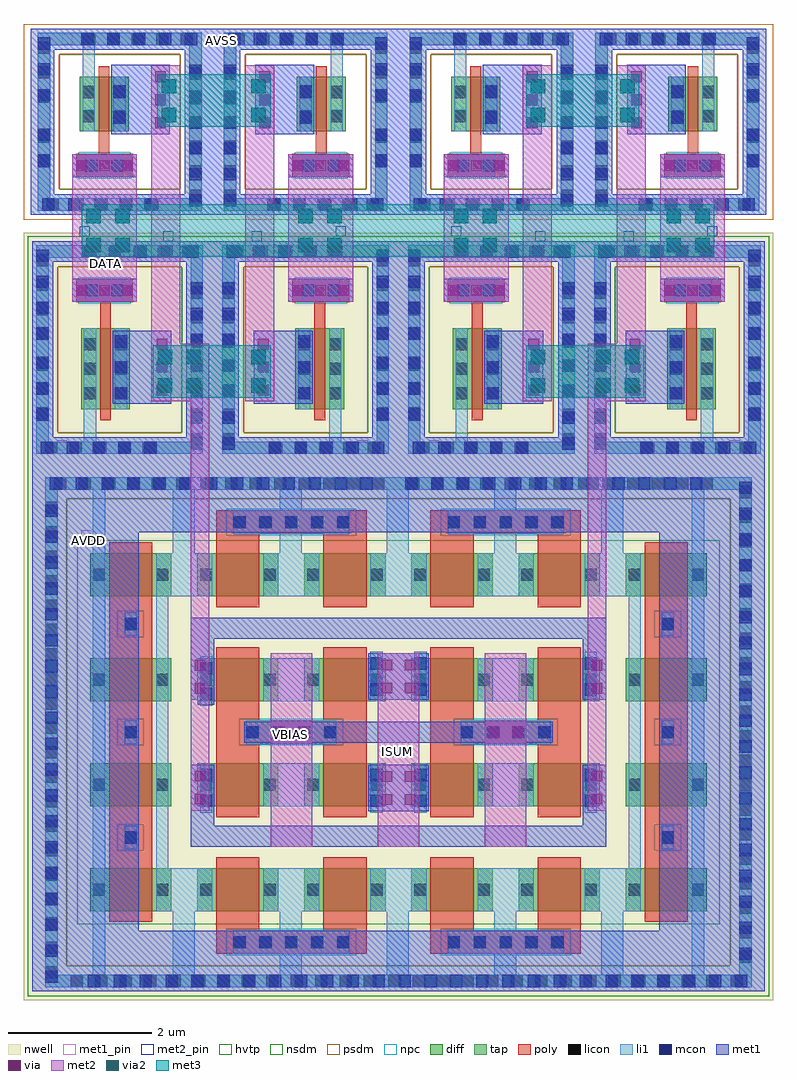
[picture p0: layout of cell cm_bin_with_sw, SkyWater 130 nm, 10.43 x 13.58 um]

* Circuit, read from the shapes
.subckt cm_bin_with_sw AVDD AVSS DATA ISUM VBIAS
XM1 idac_cm_sw_24/OUT DATA AVSS AVSS sky130_fd_pr__nfet_01v8 w=0.76 l=0.15 m=4
XM2 idac_cm_sw_24/OUT DATA AVDD AVDD sky130_fd_pr__pfet_01v8 w=1.13 l=0.15 m=4
XM3 AVDD AVDD AVDD AVDD sky130_fd_pr__pfet_01v8_hvt w=0.6 l=0.6 m=16
XM4 n1 VBIAS idac_cm_sw_24/OUT AVDD sky130_fd_pr__pfet_01v8_hvt w=0.6 l=0.6
XM5 n2 VBIAS idac_cm_sw_24/OUT AVDD sky130_fd_pr__pfet_01v8_hvt w=0.6 l=0.6
XM6 ISUM VBIAS n1 AVDD sky130_fd_pr__pfet_01v8_hvt w=0.6 l=0.6
XM7 ISUM VBIAS n2 AVDD sky130_fd_pr__pfet_01v8_hvt w=0.6 l=0.6
XM8 n3 VBIAS ISUM AVDD sky130_fd_pr__pfet_01v8_hvt w=0.6 l=0.6
XM9 n4 VBIAS ISUM AVDD sky130_fd_pr__pfet_01v8_hvt w=0.6 l=0.6
XM10 idac_cm_sw_24/OUT VBIAS n3 AVDD sky130_fd_pr__pfet_01v8_hvt w=0.6 l=0.6
XM11 idac_cm_sw_24/OUT VBIAS n4 AVDD sky130_fd_pr__pfet_01v8_hvt w=0.6 l=0.6
.ends

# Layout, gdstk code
from math import pi, radians
import gdstk
lib = gdstk.Library(unit=1e-6, precision=1e-09)
def R(c, l, rs):  # rectangles x0, y0, x1, y1
    for r in rs: c.add(gdstk.rectangle(r[:2], r[2:], *l))
def A(c, l, x, y, w, h, nx, ny, dx, dy):  # array of equal rectangles
    R(c, l, [(x+i*dx, y+j*dy, x+i*dx+w, y+j*dy+h) for i in range(nx) for j in range(ny)])
nwell = (64, 20)
diff = (65, 20)
tap = (65, 44)
poly = (66, 20)
licon = (66, 44)
li1 = (67, 20)
mcon = (67, 44)
met1_pin = (68, 16)
met1 = (68, 20)
via = (68, 44)
met2_pin = (69, 16)
met2 = (69, 20)
via2 = (69, 44)
met3 = (70, 20)
hvtp = (78, 44)
nsdm = (93, 44)
psdm = (94, 20)
npc = (95, 20)

pfet_01v8_hvt_cdns_73095 = lib.new_cell('pfet_01v8_hvt_CDNS_730950903095')
R(pfet_01v8_hvt_cdns_73095, nwell, [(-0.445,-0.18,1.045,0.78)])
R(pfet_01v8_hvt_cdns_73095, diff, [(-0.265,0,0,0.6), (0,0,0.6,0.6), (0.6,0,0.865,0.6)])
R(pfet_01v8_hvt_cdns_73095, poly, [(0,-0.15,0.6,-0.095), (0,-0.095,0.6,0), (0,0,0.6,0.6), (0,0.6,0.6,0.695), (0,0.695,0.6,0.75)])
R(pfet_01v8_hvt_cdns_73095, licon, [(-0.225,0.215,-0.055,0.385), (0.655,0.215,0.825,0.385)])
R(pfet_01v8_hvt_cdns_73095, li1, [(-0.225,0,-0.055,0.6), (0.655,0,0.825,0.6)])
R(pfet_01v8_hvt_cdns_73095, hvtp, [(-0.445,-0.18,1.045,0.78)])
R(pfet_01v8_hvt_cdns_73095, psdm, [(-0.405,-0.13,1.005,0.73)])

nfet_01v8_cdns_730950903 = lib.new_cell('nfet_01v8_CDNS_730950903097')
R(nfet_01v8_cdns_730950903, diff, [(-0.265,0,0,0.76), (0,0,0.15,0.76), (0.15,0,0.415,0.76)])
R(nfet_01v8_cdns_730950903, poly, [(0,-0.15,0.15,-0.095), (0,-0.095,0.15,0), (0,0,0.15,0.76), (0,0.76,0.15,0.855), (0,0.855,0.15,0.91)])
R(nfet_01v8_cdns_730950903, licon, [(-0.225,0.125,-0.055,0.295), (0.205,0.125,0.375,0.295), (-0.225,0.465,-0.055,0.635), (0.205,0.465,0.375,0.635)])
R(nfet_01v8_cdns_730950903, li1, [(-0.225,0,-0.055,0.76), (0.205,0,0.375,0.76)])
R(nfet_01v8_cdns_730950903, nsdm, [(-0.405,-0.13,0.555,0.89)])

pfet_01v8_cdns_730950903 = lib.new_cell('pfet_01v8_CDNS_730950903098')
R(pfet_01v8_cdns_730950903, nwell, [(-0.445,-0.18,0.595,1.31)])
R(pfet_01v8_cdns_730950903, diff, [(-0.265,0,0,1.13), (0,0,0.15,1.13), (0.15,0,0.415,1.13)])
R(pfet_01v8_cdns_730950903, poly, [(0,-0.15,0.15,-0.095), (0,-0.095,0.15,0), (0,0,0.15,1.13), (0,1.13,0.15,1.225), (0,1.225,0.15,1.28)])
A(pfet_01v8_cdns_730950903, licon, -0.225, 0.14, 0.17, 0.17, 1, 3, 0, 0.34)
A(pfet_01v8_cdns_730950903, licon, 0.205, 0.14, 0.17, 0.17, 1, 3, 0, 0.34)
R(pfet_01v8_cdns_730950903, li1, [(-0.225,0,-0.055,1.13), (0.205,0,0.375,1.13)])
R(pfet_01v8_cdns_730950903, psdm, [(-0.405,-0.13,0.555,1.26)])

m1m2_c_cdns_730950903091 = lib.new_cell('M1M2_C_CDNS_7309509030915')
R(m1m2_c_cdns_730950903091, met1, [(-0.45,-0.16,0.45,0.16)])
A(m1m2_c_cdns_730950903091, via, -0.395, -0.075, 0.15, 0.15, 3, 1, 0.32, 0)
R(m1m2_c_cdns_730950903091, met2, [(-0.45,-0.16,0.45,0.16)])

polyconn_cdns_7309509030 = lib.new_cell('polyConn_CDNS_730950903096')
R(polyconn_cdns_7309509030, poly, [(-0.395,-0.165,0.395,0.165)])
R(polyconn_cdns_7309509030, licon, [(-0.265,-0.085,-0.095,0.085), (0.095,-0.085,0.265,0.085)])
R(polyconn_cdns_7309509030, li1, [(-0.265,-0.165,0.265,0.165)])
R(polyconn_cdns_7309509030, mcon, [(-0.265,-0.085,-0.095,0.085), (0.095,-0.085,0.265,0.085)])
R(polyconn_cdns_7309509030, met1, [(-0.45,-0.16,0.45,0.16)])
R(polyconn_cdns_7309509030, npc, [(-0.365,-0.185,0.365,0.185)])

l1m1_c_cdns_730950903091 = lib.new_cell('L1M1_C_CDNS_7309509030916')
R(l1m1_c_cdns_730950903091, li1, [(-0.085,-0.525,0.085,0.525)])
A(l1m1_c_cdns_730950903091, mcon, -0.085, -0.445, 0.17, 0.17, 1, 3, 0, 0.36)
R(l1m1_c_cdns_730950903091, met1, [(-0.115,-0.505,0.115,0.505)])

c_m1m2_c_cdns_730950903091 = lib.new_cell('M1M2_C_CDNS_7309509030912')
R(c_m1m2_c_cdns_730950903091, met1, [(-0.13,-0.48,0.13,0.48)])
A(c_m1m2_c_cdns_730950903091, via, -0.075, -0.395, 0.15, 0.15, 1, 3, 0, 0.32)
R(c_m1m2_c_cdns_730950903091, met2, [(-0.13,-0.48,0.13,0.48)])

c_l1m1_c_cdns_730950903091 = lib.new_cell('L1M1_C_CDNS_7309509030913')
R(c_l1m1_c_cdns_730950903091, li1, [(-0.085,-0.345,0.085,0.345)])
R(c_l1m1_c_cdns_730950903091, mcon, [(-0.085,-0.265,0.085,-0.095), (-0.085,0.095,0.085,0.265)])
R(c_l1m1_c_cdns_730950903091, met1, [(-0.115,-0.325,0.115,0.325)])

idac_cm_sw = lib.new_cell('idac_cm_sw')
R(idac_cm_sw, nwell, [(0,2.795,2.675,6.055)])
A(idac_cm_sw, licon, 0.825, 0.02, 0.17, 0.17, 5, 1, 0.34, 0)
A(idac_cm_sw, licon, 0.2, 0.14, 0.17, 0.17, 1, 3, 0, 0.34)
A(idac_cm_sw, licon, 2.305, 0.5, 0.17, 0.17, 1, 6, 0, 0.34)
A(idac_cm_sw, licon, 0.32, 2.32, 0.17, 0.17, 5, 1, 0.34, 0)
A(idac_cm_sw, licon, 0.845, 2.975, 0.17, 0.17, 5, 1, 0.34, 0)
A(idac_cm_sw, licon, 0.18, 3.095, 0.17, 0.17, 1, 4, 0, 0.34)
A(idac_cm_sw, licon, 2.325, 3.545, 0.17, 0.17, 1, 7, 0, 0.34)
A(idac_cm_sw, licon, 0.18, 4.545, 0.17, 0.17, 1, 3, 0, 0.34)
A(idac_cm_sw, licon, 0.3, 5.705, 0.17, 0.17, 5, 1, 0.34, 0)
R(idac_cm_sw, licon, [(0.2,1.375,0.37,1.545), (0.2,1.715,0.37,1.885)])
A(idac_cm_sw, mcon, 0.805, 0.02, 0.17, 0.17, 5, 1, 0.36, 0)
A(idac_cm_sw, mcon, 0.2, 0.08, 0.17, 0.17, 1, 3, 0, 0.36)
A(idac_cm_sw, mcon, 2.305, 0.46, 0.17, 0.17, 1, 6, 0, 0.36)
A(idac_cm_sw, mcon, 0.26, 2.32, 0.17, 0.17, 5, 1, 0.36, 0)
A(idac_cm_sw, mcon, 0.825, 2.975, 0.17, 0.17, 5, 1, 0.36, 0)
A(idac_cm_sw, mcon, 0.18, 3.035, 0.17, 0.17, 1, 4, 0, 0.36)
A(idac_cm_sw, mcon, 2.325, 3.485, 0.17, 0.17, 1, 7, 0, 0.36)
A(idac_cm_sw, mcon, 0.18, 4.52, 0.17, 0.17, 1, 3, 0, 0.36)
A(idac_cm_sw, mcon, 0.24, 5.705, 0.17, 0.17, 5, 1, 0.36, 0)
R(idac_cm_sw, mcon, [(0.2,1.35,0.37,1.52), (0.2,1.71,0.37,1.88)])
R(idac_cm_sw, met1_pin, [(0.535,0.04,0.675,0.18), (0.47,5.685,0.61,5.825)])
R(idac_cm_sw, met1, [(0.1,-0.04,0.27,2.55), (1.22,0.46,2.035,1.43), (1.24,4.165,2.055,5.175)])
R(idac_cm_sw, met2_pin, [(0.78,2.71,0.92,2.85), (1.945,2.78,2.085,2.92)])
R(idac_cm_sw, met2, [(1.775,0.47,2.18,5.145), (0.675,1.705,1.575,3.76)])
R(idac_cm_sw, nsdm, [(0.495,0.315,2.18,2.195)])
R(idac_cm_sw, psdm, [(0,-0.105,0.105,2.615), (2.57,-0.105,2.675,2.615), (0.475,3.27,2.2,5.58)])
idac_cm_sw.add(gdstk.FlexPath([(1.14,3.975),(1.14,3.6)], 0.15, ends="flush", simple_path=True, layer=66, datatype=20))  # poly
idac_cm_sw.add(gdstk.FlexPath([(1.12,1.54),(1.12,1.93)], 0.15, ends="flush", simple_path=True, layer=66, datatype=20))  # poly
idac_cm_sw.add(gdstk.FlexPath([(0.285,1.255),(0.285,2.405),(2.39,2.405),(2.39,0.105),(0.285,0.105),(0.285,1.255)], 0.17, ends="flush", simple_path=True, layer=67, datatype=20))  # li1
idac_cm_sw.add(gdstk.FlexPath([(0.265,4.425),(0.265,5.79),(2.41,5.79),(2.41,3.06),(0.265,3.06),(0.265,4.425)], 0.17, ends="flush", simple_path=True, layer=67, datatype=20))  # li1
idac_cm_sw.add(gdstk.FlexPath([(0.905,0.63),(0.905,0.105)], 0.17, ends="flush", simple_path=True, layer=67, datatype=20))  # li1
idac_cm_sw.add(gdstk.FlexPath([(0.925,5.255),(0.925,5.79)], 0.17, ends="flush", simple_path=True, layer=67, datatype=20))  # li1
idac_cm_sw.add(gdstk.FlexPath([(0.265,4.425),(0.265,5.79),(2.41,5.79),(2.41,3.06),(0.265,3.06),(0.265,4.425)], 0.42, ends="flush", simple_path=True, layer=93, datatype=44))  # nsdm
idac_cm_sw.add(gdstk.FlexPath([(0.285,1.255),(0.285,2.405),(2.39,2.405),(2.39,0.105),(0.285,0.105),(0.285,1.255)], 0.42, ends="flush", simple_path=True, layer=94, datatype=20))  # psdm
idac_cm_sw.add(gdstk.FlexPath([(0.265,4.425),(0.265,5.79),(2.41,5.79),(2.41,3.06),(0.265,3.06),(0.265,4.425)], 0.53, ends="flush", simple_path=True, layer=64, datatype=20))  # nwell
idac_cm_sw.add(gdstk.FlexPath([(0.285,1.255),(0.285,2.405),(2.39,2.405),(2.39,0.105),(0.285,0.105),(0.285,1.255)], 0.29, ends="flush", simple_path=True, layer=68, datatype=20))  # met1
idac_cm_sw.add(gdstk.FlexPath([(0.265,4.425),(0.265,5.79),(2.41,5.79),(2.41,3.06),(0.265,3.06),(0.265,4.425)], 0.29, ends="flush", simple_path=True, layer=68, datatype=20))  # met1
idac_cm_sw.add(gdstk.FlexPath([(0.265,4.425),(0.265,5.79),(2.41,5.79),(2.41,3.06),(0.265,3.06),(0.265,4.425)], 0.17, ends="flush", simple_path=True, layer=65, datatype=44))  # tap
idac_cm_sw.add(gdstk.FlexPath([(0.285,1.255),(0.285,2.405),(2.39,2.405),(2.39,0.105),(0.285,0.105),(0.285,1.255)], 0.17, ends="flush", simple_path=True, layer=65, datatype=44))  # tap
idac_cm_sw.add(gdstk.Reference(nfet_01v8_cdns_730950903, (1.045,0.63)))
idac_cm_sw.add(gdstk.Reference(pfet_01v8_cdns_730950903, (1.065,4.125)))
idac_cm_sw.add(gdstk.Reference(m1m2_c_cdns_730950903091, (1.125,3.6)))
idac_cm_sw.add(gdstk.Reference(m1m2_c_cdns_730950903091, (1.125,1.865)))
idac_cm_sw.add(gdstk.Reference(polyconn_cdns_7309509030, (1.125,3.6)))
idac_cm_sw.add(gdstk.Reference(polyconn_cdns_7309509030, (1.125,1.865)))
idac_cm_sw.add(gdstk.Reference(l1m1_c_cdns_730950903091, (1.355,4.67)))
idac_cm_sw.add(gdstk.Reference(c_m1m2_c_cdns_730950903091, (1.905,0.95)))
idac_cm_sw.add(gdstk.Reference(c_m1m2_c_cdns_730950903091, (1.925,4.665)))
idac_cm_sw.add(gdstk.Reference(c_l1m1_c_cdns_730950903091, (1.335,1.015)))
idac_cm_sw.add(gdstk.Label('AVSS', (0.62,0.095), layer=68, texttype=20))
idac_cm_sw.add(gdstk.Label('AVSS', (0.58,0.095), layer=68, texttype=20))
idac_cm_sw.add(gdstk.Label('OUT', (1.99,2.85), layer=69, texttype=20))
idac_cm_sw.add(gdstk.Label('OUT', (1.985,2.815), layer=69, texttype=5))
idac_cm_sw.add(gdstk.Label('DATA', (0.9,2.74), layer=69, texttype=5))
idac_cm_sw.add(gdstk.Label('AVSS', (0.585,0.115), layer=68, texttype=5))
idac_cm_sw.add(gdstk.Label('AVDD', (0.51,5.855), layer=68, texttype=5))

c_polyconn_cdns_7309509030 = lib.new_cell('polyConn_CDNS_730950903092')
R(c_polyconn_cdns_7309509030, poly, [(-0.675,-0.165,0.675,0.165)])
A(c_polyconn_cdns_7309509030, licon, -0.625, -0.085, 0.17, 0.17, 4, 1, 0.36, 0)
R(c_polyconn_cdns_7309509030, li1, [(-0.625,-0.165,0.625,0.165)])
A(c_polyconn_cdns_7309509030, mcon, -0.625, -0.085, 0.17, 0.17, 4, 1, 0.36, 0)
R(c_polyconn_cdns_7309509030, met1, [(-0.655,-0.145,0.655,0.145)])
R(c_polyconn_cdns_7309509030, npc, [(-0.725,-0.185,0.725,0.185)])

c_m1m2_c_cdns_730950903091_ = lib.new_cell('M1M2_C_CDNS_7309509030911')
R(c_m1m2_c_cdns_730950903091_, met1, [(-0.29,-0.32,0.29,0.32)])
R(c_m1m2_c_cdns_730950903091_, via, [(-0.235,-0.235,-0.085,-0.085), (0.085,-0.235,0.235,-0.085), (-0.235,0.085,-0.085,0.235), (0.085,0.085,0.235,0.235)])
R(c_m1m2_c_cdns_730950903091_, met2, [(-0.29,-0.32,0.29,0.32)])

c_m1m2_c_cdns_730950903091__ = lib.new_cell('M1M2_C_CDNS_7309509030914')
R(c_m1m2_c_cdns_730950903091__, met1, [(-0.13,-0.32,0.13,0.32)])
R(c_m1m2_c_cdns_730950903091__, via, [(-0.075,-0.235,0.075,-0.085), (-0.075,0.085,0.075,0.235)])
R(c_m1m2_c_cdns_730950903091__, met2, [(-0.13,-0.32,0.13,0.32)])

m1m2_c_cdns_730950903094 = lib.new_cell('M1M2_C_CDNS_730950903094')
R(m1m2_c_cdns_730950903094, met1, [(-0.29,-0.16,0.29,0.16)])
R(m1m2_c_cdns_730950903094, via, [(-0.235,-0.075,-0.085,0.075), (0.085,-0.075,0.235,0.075)])
R(m1m2_c_cdns_730950903094, met2, [(-0.29,-0.16,0.29,0.16)])

c_polyconn_cdns_7309509030_ = lib.new_cell('polyConn_CDNS_730950903093')
R(c_polyconn_cdns_7309509030_, poly, [(-0.135,-0.165,0.135,0.165)])
R(c_polyconn_cdns_7309509030_, licon, [(-0.085,-0.085,0.085,0.085)])
R(c_polyconn_cdns_7309509030_, li1, [(-0.085,-0.165,0.085,0.165)])
R(c_polyconn_cdns_7309509030_, mcon, [(-0.085,-0.085,0.085,0.085)])
R(c_polyconn_cdns_7309509030_, met1, [(-0.115,-0.145,0.115,0.145)])
R(c_polyconn_cdns_7309509030_, npc, [(-0.185,-0.185,0.185,0.185)])

c_polyconn_cdns_7309509030__ = lib.new_cell('polyConn_CDNS_730950903094')
R(c_polyconn_cdns_7309509030__, poly, [(-0.855,-0.165,0.855,0.165)])
A(c_polyconn_cdns_7309509030__, licon, -0.805, -0.085, 0.17, 0.17, 5, 1, 0.36, 0)
R(c_polyconn_cdns_7309509030__, li1, [(-0.805,-0.165,0.805,0.165)])
A(c_polyconn_cdns_7309509030__, mcon, -0.805, -0.085, 0.17, 0.17, 5, 1, 0.36, 0)
R(c_polyconn_cdns_7309509030__, met1, [(-0.835,-0.145,0.835,0.145)])
R(c_polyconn_cdns_7309509030__, npc, [(-0.905,-0.185,0.905,0.185)])

m2m3_c_cdns_730950903095 = lib.new_cell('M2M3_C_CDNS_730950903095')
R(m2m3_c_cdns_730950903095, met2, [(-0.34,-0.385,0.34,0.385)])
R(m2m3_c_cdns_730950903095, via2, [(-0.3,-0.3,-0.1,-0.1), (0.1,-0.3,0.3,-0.1), (-0.3,0.1,-0.1,0.3), (0.1,0.1,0.3,0.3)])
R(m2m3_c_cdns_730950903095, met3, [(-0.365,-0.365,0.365,0.365)])

m2m3_c_cdns_730950903091 = lib.new_cell('M2M3_C_CDNS_730950903091')
R(m2m3_c_cdns_730950903091, met2, [(-0.14,-0.385,0.14,0.385)])
R(m2m3_c_cdns_730950903091, via2, [(-0.1,-0.3,0.1,-0.1), (-0.1,0.1,0.1,0.3)])
R(m2m3_c_cdns_730950903091, met3, [(-0.165,-0.365,0.165,0.365)])

cm_bin_with_sw = lib.new_cell('cm_bin_with_sw')
R(cm_bin_with_sw, nwell, [(-0.03,0,10.4,7.45), (0.095,0,10.275,7.45)])
A(cm_bin_with_sw, poly, 2.65, 0.64, 0.6, 0.445, 4, 2, 1.49, 5.725)
A(cm_bin_with_sw, poly, 1.16, 3.445, 0.6, 0.56, 6, 1, 1.49, 0)
R(cm_bin_with_sw, poly, [(1.16,1.985,1.76,2.545), (8.61,1.985,9.21,2.545), (1.16,4.905,1.76,5.465), (8.61,4.905,9.21,5.465)])
A(cm_bin_with_sw, licon, 0.625, 0.18, 0.17, 0.17, 28, 1, 0.34, 0)
A(cm_bin_with_sw, licon, 0.275, 0.3, 0.17, 0.17, 1, 20, 0, 0.34)
A(cm_bin_with_sw, licon, 9.925, 0.52, 0.17, 0.17, 1, 20, 0, 0.34)
A(cm_bin_with_sw, licon, 0.395, 7.1, 0.17, 0.17, 14, 1, 0.34, 0)
A(cm_bin_with_sw, licon, 5.305, 7.1, 0.17, 0.17, 13, 1, 0.34, 0)
A(cm_bin_with_sw, li1, 2.045, 0.265, 0.305, 1.435, 5, 2, 1.49, 5.45)
R(cm_bin_with_sw, li1, [(3.305,2.695,4.085,3.295), (6.285,2.695,7.065,3.295), (3.305,4.155,4.085,4.755), (6.285,4.155,7.065,4.755)])
A(cm_bin_with_sw, mcon, 0.865, 0.18, 0.17, 0.17, 26, 1, 0.36, 0)
A(cm_bin_with_sw, mcon, 0.275, 0.24, 0.17, 0.17, 1, 19, 0, 0.36)
A(cm_bin_with_sw, mcon, 9.925, 0.56, 0.17, 0.17, 1, 19, 0, 0.36)
A(cm_bin_with_sw, mcon, 0.335, 7.1, 0.17, 0.17, 13, 1, 0.36, 0)
A(cm_bin_with_sw, mcon, 5.28, 7.1, 0.17, 0.17, 12, 1, 0.36, 0)
R(cm_bin_with_sw, met1_pin, [(0.77,6.395,0.91,6.535), (2.76,13.165,2.9,13.305)])
A(cm_bin_with_sw, met1, 2.405, 7.535, 0.425, 3.02, 3, 1, 2.565, 0)
R(cm_bin_with_sw, met1, [(0.09,0.12,0.395,7.65), (0.12,0.12,0.27,7.615), (10.13,0.12,10.25,7.275), (10.17,0.12,10.28,7.59), (0.36,0.18,1.57,7.185), (0.33,0.225,10.01,0.96), (8.815,0.225,10.01,7.185), (2.295,2.135,8.075,2.425), (2.295,2.135,2.625,2.655), (7.745,2.135,8.075,2.655), (4.765,2.625,5.605,3.275), (3.38,3.58,6.99,3.87), (4.765,4.175,5.605,4.825), (2.295,4.755,2.625,5.315), (7.745,4.765,8.075,5.315), (2.295,5.025,8.075,5.315), (0.36,6.505,9.94,7.185), (0.12,7.275,10.25,7.715), (2.41,10.92,2.83,13.51), (4.98,10.92,5.4,13.51), (7.54,10.92,7.96,13.51)])
R(cm_bin_with_sw, met2_pin, [(5.1,3.385,5.24,3.525), (3.595,3.585,3.735,3.725), (1.125,10.185,1.265,10.325)])
A(cm_bin_with_sw, met2, 3.405, 2.135, 0.58, 2.685, 3, 1, 1.49, 0)
R(cm_bin_with_sw, met2, [(4.895,2.63,5.475,4.82), (2.295,2.635,2.555,4.815), (7.815,2.635,8.075,4.815), (2.295,4.385,2.555,9.13), (7.815,4.385,8.075,9.13), (1.765,8.325,2.555,9.13), (7.895,8.325,8.605,9.13)])
R(cm_bin_with_sw, met3, [(1.77,8.38,3.405,9.11), (6.96,8.38,8.6,9.11), (0.78,10.337,9.578,11.067), (1.83,12.145,3.405,12.875), (6.96,12.145,8.535,12.875)])
R(cm_bin_with_sw, hvtp, [(0.715,1.055,9.655,6.395), (1.395,1.055,8.975,6.395)])
R(cm_bin_with_sw, nsdm, [(0.025,0.055,0.22,7.625), (10.15,0.055,10.345,7.505), (0.055,7.35,10.315,7.625), (2.475,7.47,2.715,10.62), (5.055,7.47,5.295,10.62), (7.665,7.47,7.905,10.62)])
R(cm_bin_with_sw, psdm, [(0.57,0.475,9.8,6.975)])
cm_bin_with_sw.add(gdstk.FlexPath([(6.455,1.535),(6.895,1.535)], 0.6, ends="flush", simple_path=True, layer=67, datatype=20))  # li1
cm_bin_with_sw.add(gdstk.FlexPath([(6.455,5.915),(6.895,5.915)], 0.6, ends="flush", simple_path=True, layer=67, datatype=20))  # li1
cm_bin_with_sw.add(gdstk.FlexPath([(1.9,1.235),(1.9,6.215)], 0.17, ends="flush", simple_path=True, layer=67, datatype=20))  # li1
cm_bin_with_sw.add(gdstk.FlexPath([(8.47,6.01),(8.385,6.01)], 0.17, ends=(0.085, 0), simple_path=True, layer=67, datatype=20))  # li1
cm_bin_with_sw.add(gdstk.FlexPath([(8.47,1.235),(8.47,6.01)], 0.17, ends=(0, 0.085), simple_path=True, layer=67, datatype=20))  # li1
cm_bin_with_sw.add(gdstk.FlexPath([(7.945,1.535),(8.385,1.535)], 0.6, ends="flush", simple_path=True, layer=67, datatype=20))  # li1
cm_bin_with_sw.add(gdstk.FlexPath([(1.985,1.535),(2.425,1.535)], 0.6, ends="flush", simple_path=True, layer=67, datatype=20))  # li1
cm_bin_with_sw.add(gdstk.FlexPath([(9.35,5.615),(9.35,0.265)], 0.17, ends="flush", simple_path=True, layer=67, datatype=20))  # li1
cm_bin_with_sw.add(gdstk.FlexPath([(9.35,6.215),(9.35,7.185)], 0.17, ends="flush", simple_path=True, layer=67, datatype=20))  # li1
cm_bin_with_sw.add(gdstk.FlexPath([(1.02,7.185),(1.02,0.265)], 0.17, ends="flush", simple_path=True, layer=67, datatype=20))  # li1
cm_bin_with_sw.add(gdstk.FlexPath([(5.185,7.185),(10.01,7.185),(10.01,0.265),(0.36,0.265),(0.36,7.185),(5.185,7.185)], 0.17, ends="flush", simple_path=True, layer=67, datatype=20))  # li1
cm_bin_with_sw.add(gdstk.FlexPath([(3.475,1.535),(3.915,1.535)], 0.6, ends="flush", simple_path=True, layer=67, datatype=20))  # li1
cm_bin_with_sw.add(gdstk.FlexPath([(3.475,5.915),(3.915,5.915)], 0.6, ends="flush", simple_path=True, layer=67, datatype=20))  # li1
cm_bin_with_sw.add(gdstk.FlexPath([(4.965,5.915),(5.405,5.915)], 0.6, ends="flush", simple_path=True, layer=67, datatype=20))  # li1
cm_bin_with_sw.add(gdstk.FlexPath([(7.945,5.915),(8.385,5.915)], 0.6, ends="flush", simple_path=True, layer=67, datatype=20))  # li1
cm_bin_with_sw.add(gdstk.FlexPath([(1.985,5.915),(2.425,5.915)], 0.6, ends="flush", simple_path=True, layer=67, datatype=20))  # li1
cm_bin_with_sw.add(gdstk.FlexPath([(4.965,1.535),(5.405,1.535)], 0.6, ends="flush", simple_path=True, layer=67, datatype=20))  # li1
cm_bin_with_sw.add(gdstk.FlexPath([(5.185,7.185),(10.01,7.185),(10.01,0.265),(0.36,0.265),(0.36,7.185),(5.185,7.185)], 0.53, ends="flush", simple_path=True, layer=64, datatype=20))  # nwell
cm_bin_with_sw.add(gdstk.FlexPath([(5.185,7.185),(10.01,7.185),(10.01,0.265),(0.36,0.265),(0.36,7.185),(5.185,7.185)], 0.42, ends="flush", simple_path=True, layer=93, datatype=44))  # nsdm
cm_bin_with_sw.add(gdstk.FlexPath([(5.185,7.185),(10.01,7.185),(10.01,0.265),(0.36,0.265),(0.36,7.185),(5.185,7.185)], 0.29, ends="flush", simple_path=True, layer=68, datatype=20))  # met1
cm_bin_with_sw.add(gdstk.FlexPath([(5.185,7.185),(10.01,7.185),(10.01,0.265),(0.36,0.265),(0.36,7.185),(5.185,7.185)], 0.17, ends="flush", simple_path=True, layer=65, datatype=44))  # tap
cm_bin_with_sw.add(gdstk.Reference(pfet_01v8_hvt_cdns_73095, (8.61,1.235)))
cm_bin_with_sw.add(gdstk.Reference(pfet_01v8_hvt_cdns_73095, (1.16,5.615)))
cm_bin_with_sw.add(gdstk.Reference(pfet_01v8_hvt_cdns_73095, (1.16,4.155)))
cm_bin_with_sw.add(gdstk.Reference(pfet_01v8_hvt_cdns_73095, (1.16,2.695)))
cm_bin_with_sw.add(gdstk.Reference(pfet_01v8_hvt_cdns_73095, (1.16,1.235)))
cm_bin_with_sw.add(gdstk.Reference(pfet_01v8_hvt_cdns_73095, (8.61,5.615)))
cm_bin_with_sw.add(gdstk.Reference(pfet_01v8_hvt_cdns_73095, (8.61,4.155)))
cm_bin_with_sw.add(gdstk.Reference(pfet_01v8_hvt_cdns_73095, (8.61,2.695)))
cm_bin_with_sw.add(gdstk.Reference(pfet_01v8_hvt_cdns_73095, (4.14,4.155)))
cm_bin_with_sw.add(gdstk.Reference(pfet_01v8_hvt_cdns_73095, (2.65,4.155)))
cm_bin_with_sw.add(gdstk.Reference(pfet_01v8_hvt_cdns_73095, (2.65,2.695)))
cm_bin_with_sw.add(gdstk.Reference(pfet_01v8_hvt_cdns_73095, (6.23,2.695), rotation=pi, x_reflection=True))
cm_bin_with_sw.add(gdstk.Reference(pfet_01v8_hvt_cdns_73095, (7.72,2.695), rotation=pi, x_reflection=True))
cm_bin_with_sw.add(gdstk.Reference(pfet_01v8_hvt_cdns_73095, (6.23,4.155), rotation=pi, x_reflection=True))
cm_bin_with_sw.add(gdstk.Reference(pfet_01v8_hvt_cdns_73095, (7.72,4.155), rotation=pi, x_reflection=True))
cm_bin_with_sw.add(gdstk.Reference(pfet_01v8_hvt_cdns_73095, (4.14,2.695)))
cm_bin_with_sw.add(gdstk.Reference(pfet_01v8_hvt_cdns_73095, (2.65,1.235)))
cm_bin_with_sw.add(gdstk.Reference(pfet_01v8_hvt_cdns_73095, (5.63,1.235)))
cm_bin_with_sw.add(gdstk.Reference(pfet_01v8_hvt_cdns_73095, (7.12,1.235)))
cm_bin_with_sw.add(gdstk.Reference(pfet_01v8_hvt_cdns_73095, (4.74,1.235), rotation=pi, x_reflection=True))
cm_bin_with_sw.add(gdstk.Reference(pfet_01v8_hvt_cdns_73095, (2.65,5.615)))
cm_bin_with_sw.add(gdstk.Reference(pfet_01v8_hvt_cdns_73095, (7.12,5.615)))
cm_bin_with_sw.add(gdstk.Reference(pfet_01v8_hvt_cdns_73095, (5.63,5.615)))
cm_bin_with_sw.add(gdstk.Reference(pfet_01v8_hvt_cdns_73095, (4.14,5.615)))
cm_bin_with_sw.add(gdstk.Reference(idac_cm_sw, (10.4,13.47), rotation=pi))
cm_bin_with_sw.add(gdstk.Reference(idac_cm_sw, (5.14,13.47), x_reflection=True))
cm_bin_with_sw.add(gdstk.Reference(idac_cm_sw, (5.23,13.47), rotation=pi))
cm_bin_with_sw.add(gdstk.Reference(idac_cm_sw, (-0.03,13.47), x_reflection=True))
cm_bin_with_sw.add(gdstk.Reference(c_polyconn_cdns_7309509030, (6.675,3.725)))
cm_bin_with_sw.add(gdstk.Reference(c_polyconn_cdns_7309509030, (3.695,3.725)))
cm_bin_with_sw.add(gdstk.Reference(c_l1m1_c_cdns_730950903091, (2.51,4.435)))
cm_bin_with_sw.add(gdstk.Reference(c_l1m1_c_cdns_730950903091, (2.51,2.95)))
cm_bin_with_sw.add(gdstk.Reference(c_l1m1_c_cdns_730950903091, (7.86,2.95)))
cm_bin_with_sw.add(gdstk.Reference(c_l1m1_c_cdns_730950903091, (7.86,4.5)))
cm_bin_with_sw.add(gdstk.Reference(c_l1m1_c_cdns_730950903091, (5.49,2.95)))
cm_bin_with_sw.add(gdstk.Reference(c_l1m1_c_cdns_730950903091, (4.88,2.95)))
cm_bin_with_sw.add(gdstk.Reference(c_l1m1_c_cdns_730950903091, (4.88,4.5)))
cm_bin_with_sw.add(gdstk.Reference(c_l1m1_c_cdns_730950903091, (5.49,4.5)))
cm_bin_with_sw.add(gdstk.Reference(c_m1m2_c_cdns_730950903091_, (5.185,2.95)))
cm_bin_with_sw.add(gdstk.Reference(c_m1m2_c_cdns_730950903091_, (5.185,4.5)))
cm_bin_with_sw.add(gdstk.Reference(c_m1m2_c_cdns_730950903091__, (7.945,4.495)))
cm_bin_with_sw.add(gdstk.Reference(c_m1m2_c_cdns_730950903091__, (7.945,2.955)))
cm_bin_with_sw.add(gdstk.Reference(c_m1m2_c_cdns_730950903091__, (2.425,2.955)))
cm_bin_with_sw.add(gdstk.Reference(c_m1m2_c_cdns_730950903091__, (2.425,4.495)))
cm_bin_with_sw.add(gdstk.Reference(m1m2_c_cdns_730950903094, (6.675,3.725)))
cm_bin_with_sw.add(gdstk.Reference(m1m2_c_cdns_730950903094, (3.695,3.725)))
cm_bin_with_sw.add(gdstk.Reference(c_polyconn_cdns_7309509030_, (8.93,2.26), rotation=pi, x_reflection=True))
cm_bin_with_sw.add(gdstk.Reference(c_polyconn_cdns_7309509030_, (8.93,3.725), rotation=pi, x_reflection=True))
cm_bin_with_sw.add(gdstk.Reference(c_polyconn_cdns_7309509030_, (8.93,5.23), rotation=pi, x_reflection=True))
cm_bin_with_sw.add(gdstk.Reference(c_polyconn_cdns_7309509030_, (1.46,5.23)))
cm_bin_with_sw.add(gdstk.Reference(c_polyconn_cdns_7309509030_, (1.46,2.26)))
cm_bin_with_sw.add(gdstk.Reference(c_polyconn_cdns_7309509030_, (1.46,3.725)))
cm_bin_with_sw.add(gdstk.Reference(c_polyconn_cdns_7309509030__, (6.675,0.805)))
cm_bin_with_sw.add(gdstk.Reference(c_polyconn_cdns_7309509030__, (3.695,0.805)))
cm_bin_with_sw.add(gdstk.Reference(c_polyconn_cdns_7309509030__, (6.675,6.645)))
cm_bin_with_sw.add(gdstk.Reference(c_polyconn_cdns_7309509030__, (3.695,6.645)))
cm_bin_with_sw.add(gdstk.Reference(m2m3_c_cdns_730950903095, (8.235,8.745)))
cm_bin_with_sw.add(gdstk.Reference(m2m3_c_cdns_730950903095, (2.135,8.745)))
cm_bin_with_sw.add(gdstk.Reference(m2m3_c_cdns_730950903095, (4.093,10.702)))
cm_bin_with_sw.add(gdstk.Reference(m2m3_c_cdns_730950903095, (1.145,10.702)))
cm_bin_with_sw.add(gdstk.Reference(m2m3_c_cdns_730950903095, (6.255,10.702)))
cm_bin_with_sw.add(gdstk.Reference(m2m3_c_cdns_730950903095, (9.213,10.702)))
cm_bin_with_sw.add(gdstk.Reference(m2m3_c_cdns_730950903091, (7.125,12.51)))
cm_bin_with_sw.add(gdstk.Reference(m2m3_c_cdns_730950903091, (7.125,8.745)))
cm_bin_with_sw.add(gdstk.Reference(m2m3_c_cdns_730950903091, (8.37,12.51)))
cm_bin_with_sw.add(gdstk.Reference(m2m3_c_cdns_730950903091, (3.24,8.745)))
cm_bin_with_sw.add(gdstk.Reference(m2m3_c_cdns_730950903091, (3.24,12.51)))
cm_bin_with_sw.add(gdstk.Reference(m2m3_c_cdns_730950903091, (1.995,12.51)))
cm_bin_with_sw.add(gdstk.Label('AVDD', (0.875,6.395), layer=68, texttype=20))
cm_bin_with_sw.add(gdstk.Label('AVDD', (0.84,6.465), layer=68, texttype=20))
cm_bin_with_sw.add(gdstk.Label('DATA', (1.105,10.24), layer=69, texttype=5))
cm_bin_with_sw.add(gdstk.Label('DATA', (1.195,10.255), layer=69, texttype=5))
cm_bin_with_sw.add(gdstk.Label('VBIAS', (3.68,3.695), layer=69, texttype=5))
cm_bin_with_sw.add(gdstk.Label('ISUM', (5.17,3.455), layer=69, texttype=5))
cm_bin_with_sw.add(gdstk.Label('ISUM', (5.17,3.455), layer=69, texttype=5))
cm_bin_with_sw.add(gdstk.Label('AVSS', (2.73,13.35), layer=68, texttype=5))
cm_bin_with_sw.add(gdstk.Label('AVDD', (0.865,6.5), layer=68, texttype=5))
cm_bin_with_sw.add(gdstk.Label('AVDD', (0.84,6.465), layer=68, texttype=5))

lib.write_gds('cm_bin_with_sw.gds')
